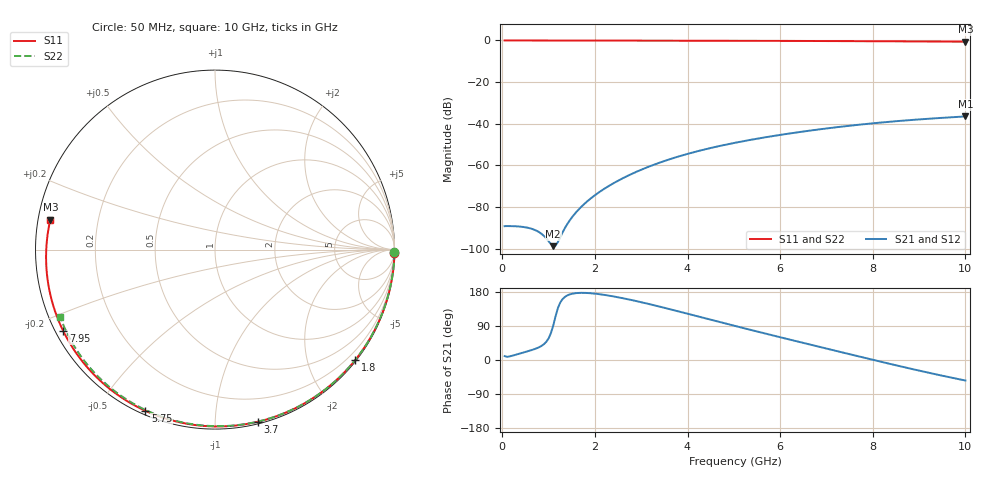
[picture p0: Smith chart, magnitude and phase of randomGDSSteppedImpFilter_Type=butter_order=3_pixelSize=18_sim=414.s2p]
! freq	dB(S11)	phase(S11)	dB(S12)	phase(S12)
!  dB(S21)	phase(S21)	dB(S22)	phase(S22)
!S-par simulation data
#  GHz  S  DB  R 50
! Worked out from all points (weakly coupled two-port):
!   200 points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, 50 MHz to 10 GHz, reference 50 ohm
!   highest |S21| = -36.47 dB at 10 GHz (marker M1); lowest = -98.7 dB at 1.1 GHz (marker M2)
!   lowest |S11| = -0.6 dB at 10 GHz (marker M3), VSWR 28.68, Z = 1.76 + j4.51 ohm
!   |S11| at or under -10 dB: nowhere
!   |S22| runs from -0.5 to 0.0 dB; largest |S21 - S12| = 0
!   S11 on the Smith chart (normalised r, x): 50 MHz: open; 1.8 GHz: 0.03, -2.89; 3.7 GHz: 0.02, -1.28; 5.75 GHz: 0.02, -0.66; 7.95 GHz: 0.02, -0.25; 10 GHz: 0.04, +0.09
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0.05  -0.00 -1.1  -89.14 10.3  -89.14 10.3  -0.00 -0.9
0.55  -0.01 -11.9  -89.89 23.1  -89.89 23.1  -0.01 -9.9
1.1  -0.03 -23.6  -98.74 90.8  -98.74 90.8  -0.02 -19.7
1.7  -0.05 -36.1  -79.96 177.2  -79.96 177.2  -0.04 -30.2
1.75  -0.05 -37.2  -78.89 177.2  -78.89 177.2  -0.04 -31.0
1.8  -0.05 -38.2  -77.88 177.0  -77.88 177.0  -0.04 -31.9
2.1  -0.06 -44.4  -72.70 173.6  -72.70 173.6  -0.05 -37.1
2.5  -0.07 -52.5  -67.32 165.5  -67.32 165.5  -0.06 -43.9
2.9  -0.08 -60.4  -63.00 155.3  -63.00 155.3  -0.07 -50.6
3.4  -0.09 -70.2  -58.63 140.8  -58.63 140.8  -0.08 -58.9
3.7  -0.10 -76.0  -56.41 131.6  -56.41 131.6  -0.09 -63.7
4.35  -0.12 -88.2  -52.41 111.1  -52.41 111.1  -0.11 -74.1
5.05  -0.15 -100.9  -49.01 89.1  -49.01 89.1  -0.13 -84.9
5.75  -0.19 -113.4  -46.22 67.6  -46.22 67.6  -0.16 -95.4
6.7  -0.25 -129.9  -43.10 39.1  -43.10 39.1  -0.21 -109.2
7.35  -0.30 -141.3  -41.30 19.8  -41.30 19.8  -0.26 -118.5
7.95  -0.36 -151.8  -39.88 2.0  -39.88 2.0  -0.30 -127.0
8.35  -0.40 -159.0  -39.05 -9.6  -39.05 -9.6  -0.34 -132.6
8.8  -0.45 -167.2  -38.23 -22.5  -38.23 -22.5  -0.38 -139.0
9.2  -0.50 -174.7  -37.58 -33.5  -37.58 -33.5  -0.43 -144.7
9.6  -0.55 177.6  -37.00 -44.0  -37.00 -44.0  -0.48 -150.6
10  -0.61 169.7  -36.47 -54.1  -36.47 -54.1  -0.53 -156.5
